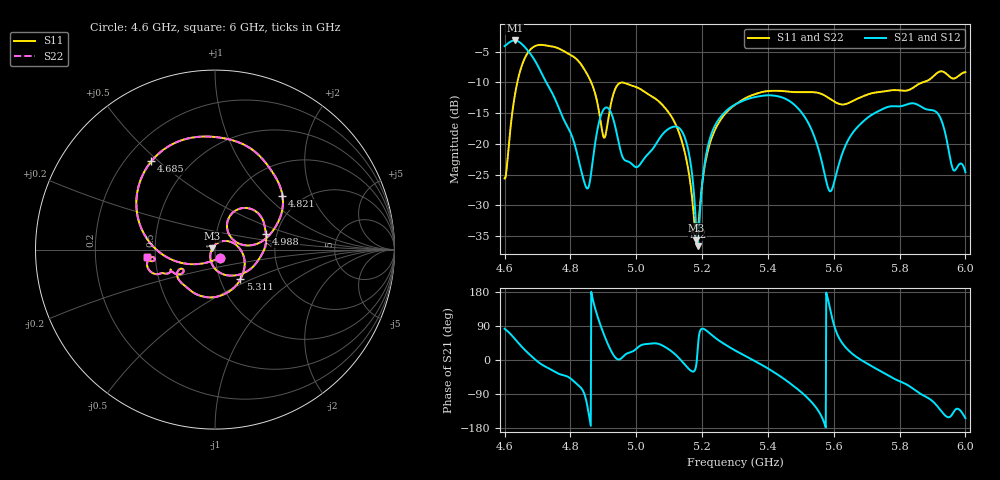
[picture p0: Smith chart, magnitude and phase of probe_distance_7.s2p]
! TOUCHSTONE file generated by CST MICROWAVE STUDIO
! Date and time: Sat Nov 30 13:10:57 2024
! Project name: test_tuning.cst
! Parameters = {airCoaxOuterDiameter=3; chamferAngle=45; chamferWidth=24; connectorLength=10; drillingHoleDiameter=4.1; feedLength=60; flareDiameter=130; flareLength=70; gratingDistance=0; gratingGap=1.90274; outletLength=30; polarizerLength=134; probe1Diameter=1.3; probe1Distance=11; probe1Length=1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
! Header version: 2024
! Port assignment regex: !\s*Touchstone port\s*([0-9]+)\s*=\s*(CST MWS port|CST DES external port|CST DES block port)\s*(.+)\s* \(\"(.*)\"\)(\s*mode\s*([0-9]+))?.*
! Touchstone port assignment:
! Touchstone port 1 = CST MWS port 1 ("Input1")
! Touchstone port 2 = CST MWS port 2 ("Input2")
# GHz S MA R 50
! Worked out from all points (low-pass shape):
!   1001 points, 4.6 GHz to 6 GHz, reference 50 ohm
!   highest |S21| = -3.20 dB at 4.631 GHz (marker M1); lowest = -36.6 dB at 5.187 GHz (marker M2)
!   |S21| within 3 dB of the highest: start of sweep to 4.689 GHz
!   lowest |S11| = -35.7 dB at 5.182 GHz (marker M3), VSWR 1.03, Z = 48.5 + j0.667 ohm
!   |S11| at or under -10 dB: start of sweep to 4.639 GHz; 4.863 GHz to 5.871 GHz (1.008 GHz wide, 18.8 % of centre)
!   |S22| runs from -35.7 to -3.9 dB; largest |S21 - S12| = 6.1e-07
!   S11 on the Smith chart (normalised r, x): 4.6 GHz: 1.05, -0.09; 4.685 GHz: 0.30, +0.47; 4.821 GHz: 1.60, +1.25; 4.988 GHz: 1.75, +0.33; 5.311 GHz: 1.25, -0.43; 6 GHz: 0.45, -0.04
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4.6  0.05238 -57.8  0.6227 82.4  0.6227 82.4  0.05238 -57.8
4.6308  0.2452 -166.6  0.6922 56.0  0.6922 56.0  0.2452 -166.6
4.6854  0.607 125.7  0.5065 6.9  0.5065 6.9  0.607 125.7
4.8212  0.4807 38.5  0.08127 -64.6  0.08127 -64.6  0.4807 38.5
4.8338  0.4367 30.8  0.05883 -75.3  0.05883 -75.3  0.4367 30.8
4.8548  0.3517 19.6  0.04435 -138.1  0.04435 -138.1  0.3517 19.6
4.908  0.1228 54.0  0.1975 53.8  0.1975 53.8  0.1228 54.0
4.9402  0.2931 52.2  0.1236 3.4  0.1236 3.4  0.2931 52.2
4.9878  0.2965 17.0  0.0679 22.1  0.0679 22.1  0.2965 17.0
5.0676  0.2225 -30.4  0.1074 42.5  0.1074 42.5  0.2225 -30.4
5.1432  0.09464 -95.9  0.1199 -7.9  0.1199 -7.9  0.09464 -95.9
5.1824  0.01646 155.3  0.01991 -12.1  0.01991 -12.1  0.01646 155.3
5.1866  0.01872 116.4  0.01473 27.5  0.01473 27.5  0.01872 116.4
5.2244  0.1024 23.3  0.112 69.6  0.112 69.6  0.1024 23.3
5.3  0.2076 -42.4  0.2085 25.3  0.2085 25.3  0.2076 -42.4
5.3112  0.2179 -49.6  0.2158 20.0  0.2158 20.0  0.2179 -49.6
5.5338  0.2631 -138.4  0.128 -112.3  0.128 -112.3  0.2631 -138.4
5.5898  0.231 -150.8  0.04112 131.5  0.04112 131.5  0.231 -150.8
5.657  0.2226 -144.2  0.1223 16.0  0.1223 16.0  0.2226 -144.2
5.7676  0.2709 -153.3  0.2005 -41.5  0.2005 -41.5  0.2709 -153.3
5.9104  0.3701 -159.2  0.1824 -117.5  0.1824 -117.5  0.3701 -159.2
6  0.3822 -174.1  0.05885 -153.4  0.05885 -153.4  0.3822 -174.1
